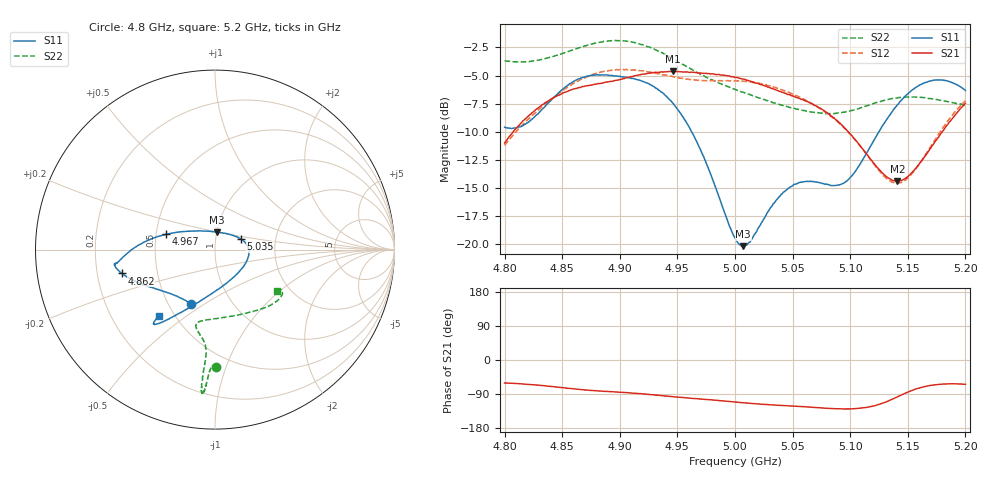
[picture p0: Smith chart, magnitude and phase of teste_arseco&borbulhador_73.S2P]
! Network Analyzer HP8722D
! Hewlett-Packard
! Data name: Linha & Wilkinson
! Saver's name: Rodrigo Anjos
! Comments: Teste da utilização de aquisição
! continua pelo VNA HP8722D
! Time and date: 15/4/2025 16:14
!  Frequency  S11  S21  S12  S22
# HZ  S  MA R 50
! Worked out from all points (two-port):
!   401 points, 4.8 GHz to 5.2 GHz, reference 50 ohm
!   highest |S21| = -4.64 dB at 4.946 GHz (marker M1); lowest = -14.4 dB at 5.141 GHz (marker M2)
!   |S21| within 3 dB of the highest: 4.832 GHz to 5.069 GHz (236.8 MHz wide, 4.78 % of centre); 5.198442 GHz to end of sweep
!   lowest |S11| = -20.2 dB at 5.007 GHz (marker M3), VSWR 1.22, Z = 50.2 + j9.88 ohm
!   |S11| at or under -10 dB: 4.962 GHz to 5.125 GHz (162.6 MHz wide, 3.22 % of centre)
!   |S22| runs from -8.4 to -1.9 dB; largest |S21 - S12| = 0.88
!   S11 on the Smith chart (normalised r, x): 4.8 GHz: 0.65, -0.44; 4.862 GHz: 0.31, -0.11; 4.967 GHz: 0.57, +0.11; 5.035 GHz: 1.32, +0.16; 5.2 GHz: 0.41, -0.40
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4.8e9  0.3313 -113.8  0.282 -60.8  0.2753 -175.1  0.6537 -89.6
4.819e9  0.3451 -133.6  0.3648 -63.6  0.3533 -173.3  0.6486 -91.1
4.862e9  0.5363 -165.6  0.4925 -76.5  0.5263 -176.4  0.7398 -93.5
4.867e9  0.549 -167.6  0.5015 -78.2  0.5431 -177.4  0.7542 -93.7
4.903e9  0.5547 -172.2  0.5447 -85.5  0.5987 175.1  0.8012 -95.3
4.934e9  0.4837 -178.0  0.5808 -93.3  0.5721 172.0  0.7194 -95.6
4.946e9  0.424 176.4  0.5862 -96.9  0.5559 172.1  0.6686 -95.3
4.967e9  0.2843 162.4  0.5782 -102.2  0.5359 174.0  0.5809 -95.0
5e9  0.107 107.0  0.5513 -110.9  0.534 176.5  0.4874 -99.3
5.007e9  0.09812 83.2  0.5422 -112.7  0.5305 176.3  0.4734 -100.9
5.014e9  0.1042 60.8  0.5294 -114.7  0.527 176.3  0.4602 -102.4
5.035e9  0.1549 22.7  0.4868 -118.9  0.4979 175.1  0.4243 -103.8
5.05e9  0.1824 7.0  0.4564 -121.6  0.4648 174.4  0.4044 -100.4
5.067e9  0.1901 -11.3  0.4212 -124.8  0.4215 174.1  0.3868 -92.0
5.085e9  0.1825 -39.9  0.3662 -128.2  0.3655 173.9  0.3812 -78.6
5.097e9  0.1909 -65.0  0.3215 -129.2  0.3208 174.5  0.3884 -68.6
5.134e9  0.3734 -116.1  0.1957 -106.9  0.1919 -159.7  0.4416 -43.4
5.141e9  0.4165 -120.1  0.1908 -97.1  0.1872 -148.8  0.4476 -40.3
5.152e9  0.4763 -124.6  0.2042 -82.3  0.2012 -131.4  0.4513 -36.2
5.17e9  0.5327 -128.6  0.2679 -66.9  0.2725 -113.1  0.4441 -32.1
5.184e9  0.5325 -129.9  0.3382 -63.2  0.349 -107.2  0.4314 -31.1
5.2e9  0.4829 -130.4  0.4231 -64.1  0.4347 -106.0  0.4154 -33.4
